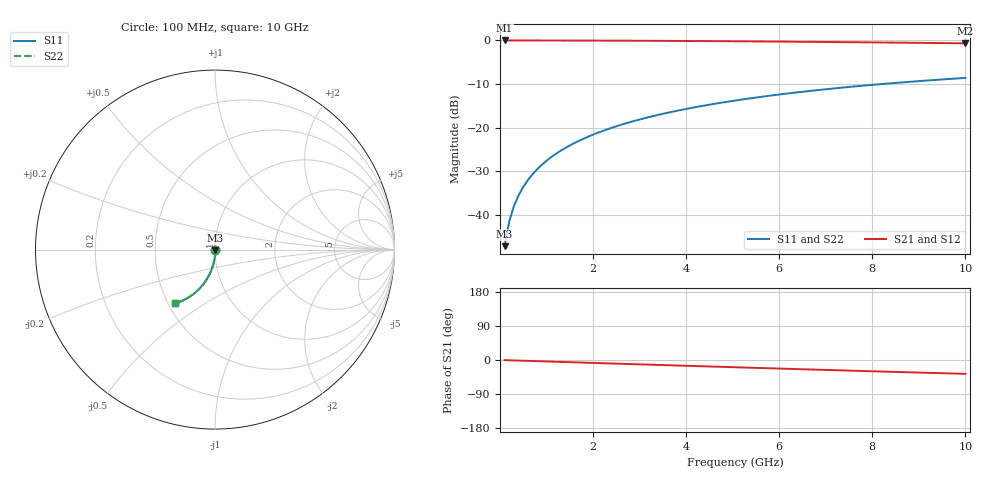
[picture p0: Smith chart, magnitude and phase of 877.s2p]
# Hz S RI R 50.00
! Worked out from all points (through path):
!   100 points, 100 MHz to 10 GHz, reference 50 ohm
!   highest |S21| = -0.01 dB at 100 MHz (marker M1); lowest = -0.7 dB at 10 GHz (marker M2)
!   group delay of S21, straight-line fit = 10.2 ps
!   lowest |S11| = -47.1 dB at 100 MHz (marker M3), VSWR 1.01, Z = 50.1 - j0.421 ohm
!   |S11| at or under -10 dB: start of sweep to 8.201 GHz
!   |S22| runs from -47.1 to -8.6 dB; largest |S21 - S12| = 0
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1e8  0.00133 -0.00419  0.9986 -0.00669  0.9986 -0.00669  0.00133 -0.00419
2e8  0.00125 -0.00839  0.9985 -0.0134  0.9985 -0.0134  0.00125 -0.00839
3e8  0.00111 -0.0126  0.9983 -0.0201  0.9983 -0.0201  0.00111 -0.0126
4e8  0.000911 -0.0168  0.9981 -0.0268  0.9981 -0.0268  0.000911 -0.0168
5e8  0.000658 -0.021  0.9978 -0.0334  0.9978 -0.0334  0.000658 -0.021
6e8  0.000349 -0.0251  0.9975 -0.0401  0.9975 -0.0401  0.000349 -0.0251
7e8  -1.62e-05 -0.0293  0.997 -0.0468  0.997 -0.0468  -1.62e-05 -0.0293
8e8  -0.000438 -0.0335  0.9966 -0.0534  0.9966 -0.0534  -0.000438 -0.0335
9e8  -0.000915 -0.0376  0.996 -0.0601  0.996 -0.0601  -0.000915 -0.0376
1.1e9  -0.00204 -0.0459  0.9948 -0.0734  0.9948 -0.0734  -0.00204 -0.0459
1.4e9  -0.00413 -0.0583  0.9924 -0.0933  0.9924 -0.0933  -0.00413 -0.0583
1.8e9  -0.00769 -0.0746  0.9884 -0.1196  0.9884 -0.1196  -0.00769 -0.0746
2.1e9  -0.0109 -0.0867  0.9848 -0.1392  0.9848 -0.1392  -0.0109 -0.0867
2.5e9  -0.016 -0.1026  0.9792 -0.165  0.9792 -0.165  -0.016 -0.1026
2.9e9  -0.0218 -0.1181  0.9727 -0.1905  0.9727 -0.1905  -0.0218 -0.1181
3.4e9  -0.0302 -0.1369  0.9632 -0.2219  0.9632 -0.2219  -0.0302 -0.1369
4.2e9  -0.0461 -0.1656  0.9454 -0.2706  0.9454 -0.2706  -0.0461 -0.1656
5.1e9  -0.0671 -0.1953  0.9217 -0.3229  0.9217 -0.3229  -0.0671 -0.1953
5.9e9  -0.0883 -0.2193  0.8976 -0.3669  0.8976 -0.3669  -0.0883 -0.2193
6.7e9  -0.1115 -0.2406  0.8712 -0.4085  0.8712 -0.4085  -0.1115 -0.2406
8.4e9  -0.1657 -0.2769  0.8086 -0.4878  0.8086 -0.4878  -0.1657 -0.2769
1e10  -0.2203 -0.2995  0.7441 -0.5511  0.7441 -0.5511  -0.2203 -0.2995
